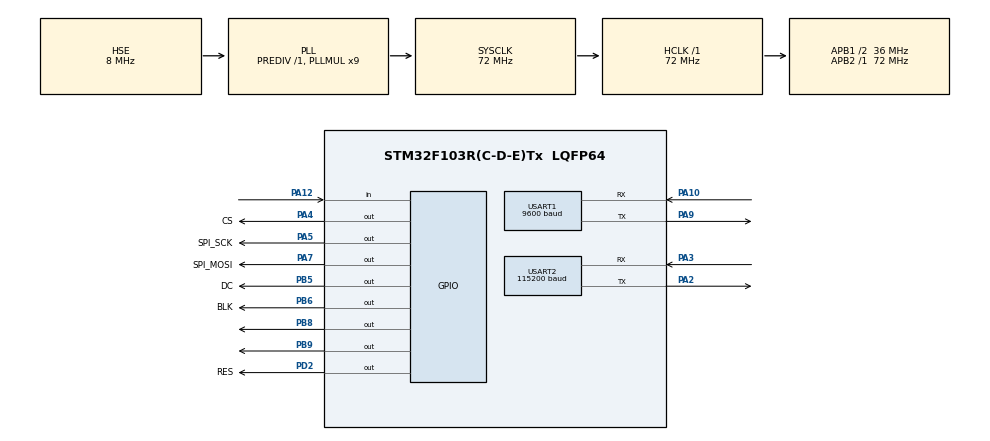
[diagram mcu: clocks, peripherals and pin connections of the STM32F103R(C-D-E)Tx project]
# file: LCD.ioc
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Mcu.Family=STM32F1
Mcu.Name=STM32F103R(C-D-E)Tx
Mcu.Package=LQFP64
NVIC.PriorityGroup=NVIC_PRIORITYGROUP_4
NVIC.TIM6_IRQn=true\:0\:0\:false\:false\:true\:true\:true\:true
NVIC.USART1_IRQn=true\:1\:0\:true\:false\:true\:true\:true\:true
PA10.Mode=Asynchronous
PA10.Signal=USART1_RX
PA12.Signal=GPIO_Input
PA2.Mode=Asynchronous
PA2.Signal=USART2_TX
PA3.Mode=Asynchronous
PA3.Signal=USART2_RX
PA4.GPIO_Label=CS
PA4.GPIO_ModeDefaultOutputPP=GPIO_MODE_OUTPUT_PP
PA4.GPIO_PuPd=GPIO_PULLDOWN
PA4.GPIO_Speed=GPIO_SPEED_FREQ_HIGH
PA4.PinState=GPIO_PIN_SET
PA4.Signal=GPIO_Output
PA5.GPIO_Label=SPI_SCK
PA5.GPIO_ModeDefaultOutputPP=GPIO_MODE_OUTPUT_PP
PA5.GPIO_PuPd=GPIO_PULLDOWN
PA5.GPIO_Speed=GPIO_SPEED_FREQ_HIGH
PA5.PinState=GPIO_PIN_SET
PA5.Signal=GPIO_Output
PA7.GPIO_Label=SPI_MOSI
PA7.GPIO_PuPd=GPIO_PULLDOWN
PA7.GPIO_Speed=GPIO_SPEED_FREQ_HIGH
PA7.PinState=GPIO_PIN_SET
PA7.Signal=GPIO_Output
PA9.Mode=Asynchronous
PA9.Signal=USART1_TX
PB5.GPIO_Label=DC
PB5.GPIO_PuPd=GPIO_PULLDOWN
PB5.GPIO_Speed=GPIO_SPEED_FREQ_HIGH
PB5.PinState=GPIO_PIN_SET
PB5.Signal=GPIO_Output
PB6.GPIO_Label=BLK
PB6.GPIO_PuPd=GPIO_PULLDOWN
PB6.GPIO_Speed=GPIO_SPEED_FREQ_HIGH
PB6.PinState=GPIO_PIN_SET
PB6.Signal=GPIO_Output
PB8.GPIO_ModeDefaultOutputPP=GPIO_MODE_OUTPUT_OD
PB8.GPIO_PuPd=GPIO_NOPULL
PB8.GPIO_Speed=GPIO_SPEED_FREQ_HIGH
PB8.Signal=GPIO_Output
PB9.GPIO_ModeDefaultOutputPP=GPIO_MODE_OUTPUT_OD
PB9.GPIO_PuPd=GPIO_NOPULL
PB9.GPIO_Speed=GPIO_SPEED_FREQ_HIGH
PB9.Signal=GPIO_Output
PC14-OSC32_IN.Mode=LSE-External-Oscillator
PC14-OSC32_IN.Signal=RCC_OSC32_IN
PC15-OSC32_OUT.Mode=LSE-External-Oscillator
PC15-OSC32_OUT.Signal=RCC_OSC32_OUT
PD0-OSC_IN.Mode=HSE-External-Oscillator
PD0-OSC_IN.Signal=RCC_OSC_IN
PD1-OSC_OUT.Mode=HSE-External-Oscillator
PD1-OSC_OUT.Signal=RCC_OSC_OUT
PD2.GPIO_Label=RES
PD2.GPIO_PuPd=GPIO_PULLDOWN
PD2.GPIO_Speed=GPIO_SPEED_FREQ_HIGH
PD2.PinState=GPIO_PIN_SET
PD2.Signal=GPIO_Output
ProjectManager.HeapSize=0x200
ProjectManager.StackSize=0x400
ProjectManager.TargetToolchain=MDK-ARM V5.32
RCC.AHBFreq_Value=72000000
RCC.APB1CLKDivider=RCC_HCLK_DIV2
RCC.APB1Freq_Value=36000000
RCC.APB1TimFreq_Value=72000000
RCC.APB2Freq_Value=72000000
RCC.APB2TimFreq_Value=72000000
RCC.HCLKFreq_Value=72000000
RCC.PLLMUL=RCC_PLL_MUL9
RCC.PLLSourceVirtual=RCC_PLLSOURCE_HSE
RCC.SYSCLKFreq_VALUE=72000000
RCC.SYSCLKSource=RCC_SYSCLKSOURCE_PLLCLK
RCC.USBFreq_Value=72000000
TIM6.Period=1000-1
TIM6.Prescaler=71
USART1.BaudRate=9600
USART1.VirtualMode=VM_ASYNC
USART2.BaudRate=115200
USART2.VirtualMode=VM_ASYNC
VP_SYS_VS_ND.Mode=No_Debug
VP_TIM6_VS_ClockSourceINT.Mode=Enable_Timer
board=custom

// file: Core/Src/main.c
/* USER CODE BEGIN Header */
/**
 ******************************************************************************
 * @file           : main.c
 * @brief          : Main program body
 ******************************************************************************
 * @attention
 *
 * Copyright (c) 2023 STMicroelectronics.
 * All rights reserved.
 *
 * This software is licensed under terms that can be found in the LICENSE file
 * in the root directory of this software component.
 * If no LICENSE file comes with this software, it is provided AS-IS.
 *
 ******************************************************************************
 */
/* USER CODE END Header */
#include "main.h"
#include "tim.h"
#include "usart.h"
#include "gpio.h"

/* USER CODE BEGIN Includes */
#include "lcd.h"
#include "lcd_init.h"
#include "pic.h"
#include "max30102.h"
#include "algorithm.h"
#include "xiic.h"
#include "blood.h"
/* USER CODE END Includes */

/* USER CODE BEGIN PTD */
uint32_t i = 0;
/* USER CODE END PTD */

/* USER CODE BEGIN PD */
// 定时器更新中断回调函数
/* USER CODE END PD */

void SystemClock_Config(void);

int main(void)
{
  /* USER CODE BEGIN 1 */
  BloodData HP;
  extern uint8_t task_ms;
  extern uint16_t watch_dog;
  extern uint16_t task_s;
  /* USER CODE END 1 */

  /* MCU Configuration--------------------------------------------------------*/

  /* Reset of all peripherals, Initializes the Flash interface and the Systick. */
  HAL_Init();

  /* Configure the system clock */
  SystemClock_Config();

  /* Initialize all configured peripherals */
  MX_GPIO_Init();
  MX_USART1_UART_Init();
  MX_TIM6_Init();
  MX_USART2_UART_Init();
  /* USER CODE BEGIN 2 */

  uint16_t i;
  /* USER CODE END 2 */

  /* Infinite loop */
  /* USER CODE BEGIN WHILE */
  // UsartPrintf(USART_DEBUG, " ??\r\n");
  MAX30102_GPIO();
  Max30102_reset();
  MAX30102_Config();

  for (i = 0; i < 128; i++)
  {
    while (MAX30102_INTPin_Read() == 0)
    {
      // ??FIFO
      max30102_read_fifo();
    }
  }

  LCD_Init();
  LCD_Fill(0, 0, LCD_W, LCD_H, WHITE);
  LCD_ShowChinese(60, 0, "心率血氧测量仪", RED, WHITE, 16, 0);
  LCD_ShowChinese(0, 40, "心率:", RED, WHITE, 16, 0);
  LCD_ShowChinese(80, 40, "血氧:", RED, WHITE, 16, 0);
  LCD_ShowChinese(0, 80, "经度:", RED, WHITE, 16, 0);
  LCD_ShowChinese(0, 120, "纬度:", RED, WHITE, 16, 0);
  LCD_ShowChinese(0, 150, "时间:", RED, WHITE, 24, 0);
  LCD_ShowChinese(0, 180, "日期:", RED, WHITE, 24, 0);
  HAL_UART_Receive_IT(&huart1, &rx_temp, 1);
  HAL_TIM_Base_Start_IT(&htim6);
  uint16_t cnt = 0;
  while (1)
  {
    if (task_ms == 1)
    {
      task_ms = 0;
      cnt++;
      cnt %= 1001; // 是用来定时到1s防止cnt无限增长
      Uart_task();
      if (watch_dog > 1)
      {
        watch_dog--;
      }
      else
      {
        watch_dog = 2000; // 看门狗观察到2s就重置串口，以及接收缓冲区
        MX_USART1_UART_Init();
        HAL_UART_Receive_IT(&huart1, &rx_temp, 1);
        uart_rx_cnt = 0;
      }
    }
    if (cnt % 100 == 0)
    {
      blood_Loop(&HP);
      LCD_ShowIntNum(48, 40, HP.heart, 3, RED, WHITE, 24);
      LCD_ShowFloatNum1(128, 40, HP.SpO2, 4, RED, WHITE, 24);
    }

    Uart_Process();

    // blood_Loop(&HP);
    //  LCD_ShowIntNum(48, 40, i++, 3, RED, WHITE, 24);
    // LCD_ShowFloatNum1(128, 40, 2, 4, RED, WHITE, 24);
    // LCD_ShowIntNum(48, 40, HP.heart, 3, RED, WHITE, 24);
    // LCD_ShowFloatNum1(128, 40, HP.SpO2, 4, RED, WHITE, 24);
    /* USER CODE END WHILE */

  }
}

void SystemClock_Config(void)
{
  RCC_OscInitTypeDef RCC_OscInitStruct = {0};
  RCC_ClkInitTypeDef RCC_ClkInitStruct = {0};

  /** Initializes the RCC Oscillators according to the specified parameters
   * in the RCC_OscInitTypeDef structure.
   */
  RCC_OscInitStruct.OscillatorType = RCC_OSCILLATORTYPE_HSE;
  RCC_OscInitStruct.HSEState = RCC_HSE_ON;
  RCC_OscInitStruct.HSEPredivValue = RCC_HSE_PREDIV_DIV1;
  RCC_OscInitStruct.HSIState = RCC_HSI_ON;
  RCC_OscInitStruct.PLL.PLLState = RCC_PLL_ON;
  RCC_OscInitStruct.PLL.PLLSource = RCC_PLLSOURCE_HSE;
  RCC_OscInitStruct.PLL.PLLMUL = RCC_PLL_MUL9;
  if (HAL_RCC_OscConfig(&RCC_OscInitStruct) != HAL_OK)
  {
    Error_Handler();
  }

  /** Initializes the CPU, AHB and APB buses clocks
   */
  RCC_ClkInitStruct.ClockType = RCC_CLOCKTYPE_HCLK | RCC_CLOCKTYPE_SYSCLK | RCC_CLOCKTYPE_PCLK1 | RCC_CLOCKTYPE_PCLK2;
  RCC_ClkInitStruct.SYSCLKSource = RCC_SYSCLKSOURCE_PLLCLK;
  RCC_ClkInitStruct.AHBCLKDivider = RCC_SYSCLK_DIV1;
  RCC_ClkInitStruct.APB1CLKDivider = RCC_HCLK_DIV2;
  RCC_ClkInitStruct.APB2CLKDivider = RCC_HCLK_DIV1;

  if (HAL_RCC_ClockConfig(&RCC_ClkInitStruct, FLASH_LATENCY_2) != HAL_OK)
  {
    Error_Handler();
  }
}

void Error_Handler(void)
{
  __disable_irq();
  while (1)
  {
  }
}
